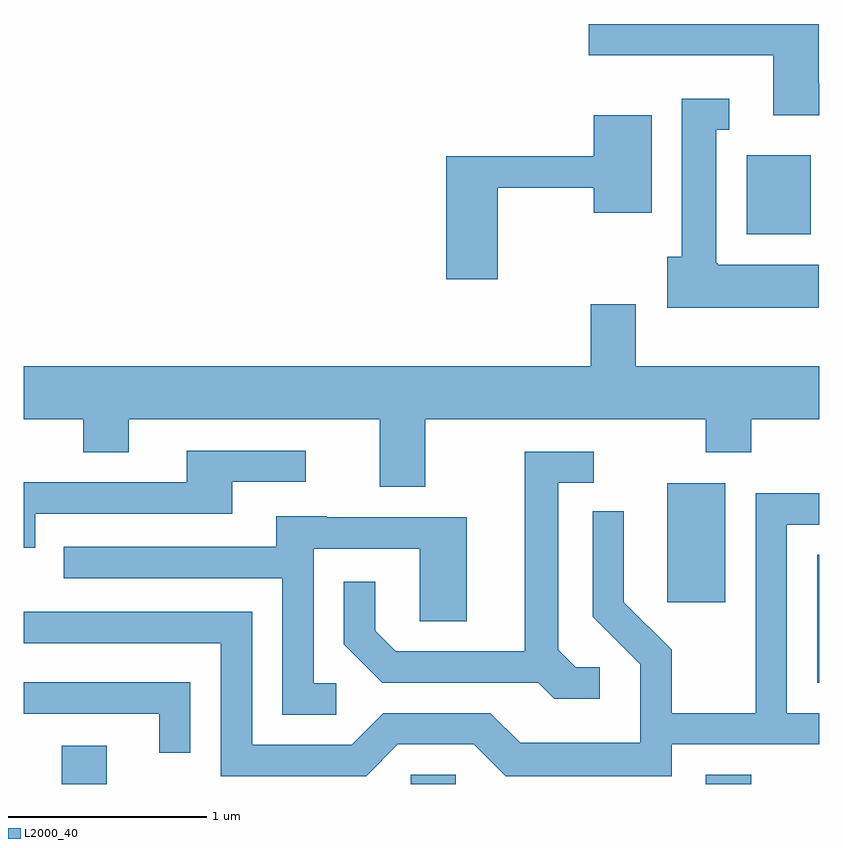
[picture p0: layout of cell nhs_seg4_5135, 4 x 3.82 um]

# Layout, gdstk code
import gdstk
lib = gdstk.Library(unit=1e-6, precision=1e-09)
def R(c, l, rs):  # rectangles x0, y0, x1, y1
    for r in rs: c.add(gdstk.rectangle(r[:2], r[2:], *l))
def P(c, l, *ps):  # polygons
    for p in ps: c.add(gdstk.Polygon(p, *l))
L2000_40 = (2000, 40)

nhs_seg4_5135 = lib.new_cell('nhs_seg4_5135')
R(nhs_seg4_5135, L2000_40, [(335.801,1323.982,336.029,1324.174), (337.556,1323.982,337.784,1324.029), (339.041,1323.982,339.269,1324.029), (339.601,1324.491,339.611,1325.134), (338.846,1324.896,339.139,1325.494), (339.246,1326.746,339.569,1327.144)])
P(nhs_seg4_5135, L2000_40, [(339.611,1327.504),(339.609,1327.504),(339.609,1327.804),(338.453,1327.804),(338.453,1327.646),(339.381,1327.646),(339.381,1327.346),(339.611,1327.346)],
  [(339.609,1326.594),(339.1,1326.594),(339.1,1326.6),(339.094,1326.6),(339.094,1327.271),(339.158,1327.271),(339.158,1327.429),(338.921,1327.429),(338.921,1326.634),(338.846,1326.634),(338.846,1326.376),(339.609,1326.376)],
  [(337.994,1326.981),(338.476,1326.981),(338.476,1326.856),(338.769,1326.856),(338.769,1327.344),(338.476,1327.344),(338.476,1327.139),(337.736,1327.139),(337.736,1326.521),(337.994,1326.521)],
  [(337.629,1325.816),(339.041,1325.816),(339.041,1325.651),(339.269,1325.651),(339.269,1325.816),(339.611,1325.816),(339.611,1326.084),(338.689,1326.084),(338.689,1326.394),(338.461,1326.394),(338.461,1326.084),(335.611,1326.084),(335.611,1325.816),(335.911,1325.816),(335.911,1325.651),(336.139,1325.651),(336.139,1325.816),(337.401,1325.816),(337.401,1325.476),(337.629,1325.476)],
  [(335.669,1325.341),(336.659,1325.341),(336.659,1325.501),(337.028,1325.501),(337.028,1325.659),(336.431,1325.659),(336.431,1325.499),(335.611,1325.499),(335.611,1325.171),(335.669,1325.171)],
  [(338.508,1324.569),(338.387,1324.569),(338.299,1324.657),(338.299,1325.496),(338.478,1325.496),(338.478,1325.654),(338.131,1325.654),(338.131,1324.649),(337.482,1324.649),(337.379,1324.752),(337.379,1324.998),(337.221,1324.998),(337.221,1324.684),(337.414,1324.491),(338.199,1324.491),(338.279,1324.411),(338.508,1324.411)],
  [(337.492,1324.181),(337.874,1324.181),(338.034,1324.021),(338.869,1324.021),(338.869,1324.181),(339.611,1324.181),(339.611,1324.339),(339.449,1324.339),(339.449,1325.286),(339.611,1325.286),(339.611,1325.444),(339.291,1325.444),(339.291,1324.339),(338.869,1324.339),(338.869,1324.657),(338.629,1324.897),(338.629,1325.353),(338.471,1325.353),(338.471,1324.824),(338.711,1324.584),(338.711,1324.189),(338.107,1324.189),(337.957,1324.339),(337.419,1324.339),(337.259,1324.179),(336.759,1324.179),(336.759,1324.849),(335.611,1324.849),(335.611,1324.691),(336.601,1324.691),(336.601,1324.021),(337.332,1324.021)],
  [(337.183,1324.489),(337.069,1324.489),(337.069,1325.166),(337.601,1325.166),(337.601,1324.801),(337.839,1324.801),(337.839,1325.324),(337.135,1325.324),(337.135,1325.329),(336.881,1325.329),(336.881,1325.174),(335.813,1325.174),(335.813,1325.016),(336.911,1325.016),(336.911,1324.331),(337.183,1324.331)],
  [(336.449,1324.494),(335.611,1324.494),(335.611,1324.336),(336.291,1324.336),(336.291,1324.138),(336.449,1324.138)])

lib.write_gds('nhs_seg4_5135.gds')
